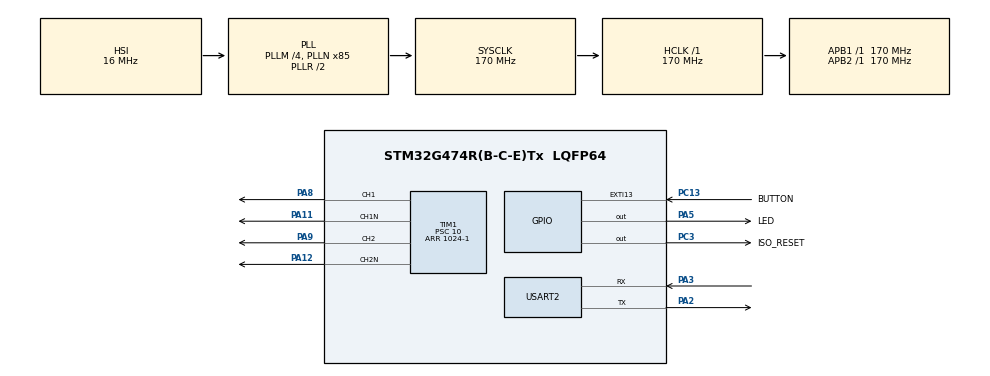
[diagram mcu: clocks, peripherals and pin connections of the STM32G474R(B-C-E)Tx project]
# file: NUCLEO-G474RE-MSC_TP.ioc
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Mcu.Family=STM32G4
Mcu.Name=STM32G474R(B-C-E)Tx
Mcu.Package=LQFP64
NVIC.EXTI15_10_IRQn=true\:0\:0\:false\:false\:true\:true\:true\:true
NVIC.PriorityGroup=NVIC_PRIORITYGROUP_4
PA11.Mode=PWM Generation1 CH1 CH1N
PA11.Signal=TIM1_CH1N
PA12.Mode=PWM Generation2 CH2 CH2N
PA12.Signal=TIM1_CH2N
PA13.GPIO_Label=T_SWDIO
PA13.Mode=Serial_Wire
PA13.Signal=SYS_JTMS-SWDIO
PA14.GPIO_Label=T_SWCLK
PA14.Mode=Serial_Wire
PA14.Signal=SYS_JTCK-SWCLK
PA2.Mode=Asynchronous
PA2.Signal=USART2_TX
PA3.Mode=Asynchronous
PA3.Signal=USART2_RX
PA5.GPIO_Label=LED
PA5.Signal=GPIO_Output
PA8.Signal=S_TIM1_CH1
PA9.Signal=S_TIM1_CH2
PC13.GPIO_Label=BUTTON
PC13.Signal=GPXTI13
PC14-OSC32_IN.Mode=LSE-External-Oscillator
PC14-OSC32_IN.Signal=RCC_OSC32_IN
PC15-OSC32_OUT.Mode=LSE-External-Oscillator
PC15-OSC32_OUT.Signal=RCC_OSC32_OUT
PC3.GPIO_Label=ISO_RESET
PC3.Signal=GPIO_Output
PF0-OSC_IN.Mode=HSE-External-Oscillator
PF0-OSC_IN.Signal=RCC_OSC_IN
PF1-OSC_OUT.Mode=HSE-External-Oscillator
PF1-OSC_OUT.Signal=RCC_OSC_OUT
ProjectManager.HeapSize=0x200
ProjectManager.StackSize=0x400
ProjectManager.TargetToolchain=STM32CubeIDE
RCC.ADC12Freq_Value=170000000
RCC.ADC345Freq_Value=170000000
RCC.AHBFreq_Value=170000000
RCC.APB1Freq_Value=170000000
RCC.APB1TimFreq_Value=170000000
RCC.APB2Freq_Value=170000000
RCC.APB2TimFreq_Value=170000000
RCC.CortexFreq_Value=170000000
RCC.EXTERNAL_CLOCK_VALUE=12288000
RCC.HCLKFreq_Value=170000000
RCC.HSE_VALUE=24000000
RCC.HSI48_VALUE=48000000
RCC.HSI_VALUE=16000000
RCC.PLLM=RCC_PLLM_DIV4
RCC.PLLN=85
RCC.RTCClockSelection=RCC_RTCCLKSOURCE_LSE
RCC.SYSCLKFreq_VALUE=170000000
RCC.SYSCLKSource=RCC_SYSCLKSOURCE_PLLCLK
RCC.USBFreq_Value=170000000
RCC.VCOOutputFreq_Value=340000000
SH.S_TIM1_CH1.0=TIM1_CH1,PWM Generation1 CH1 CH1N
SH.S_TIM1_CH2.0=TIM1_CH2,PWM Generation2 CH2 CH2N
TIM1.AutoReloadPreload=TIM_AUTORELOAD_PRELOAD_ENABLE
TIM1.Channel-PWM\ Generation1\ CH1\ CH1N=TIM_CHANNEL_1
TIM1.Channel-PWM\ Generation2\ CH2\ CH2N=TIM_CHANNEL_2
TIM1.CounterMode=TIM_COUNTERMODE_CENTERALIGNED1
TIM1.DeadTime=203
TIM1.PeriodNoDither=1024-1
TIM1.Prescaler=10
TIM1.PulseNoDither_1=512-1
TIM1.PulseNoDither_2=512-1
USART2.VirtualMode-Asynchronous=VM_ASYNC
VP_SYS_VS_DBSignals.Mode=DisableDeadBatterySignals
VP_TIM1_VS_ClockSourceINT.Mode=Internal
board=NUCLEO-G474RE

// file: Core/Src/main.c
/* USER CODE BEGIN Header */
/**
  ******************************************************************************
  * @file           : main.c
  * @brief          : Main program body
  ******************************************************************************
  * @attention
  *
  * Copyright (c) 2022 STMicroelectronics.
  * All rights reserved.
  *
  * This software is licensed under terms that can be found in the LICENSE file
  * in the root directory of this software component.
  * If no LICENSE file comes with this software, it is provided AS-IS.
  *
  ******************************************************************************
  */
/* USER CODE END Header */
#include "main.h"
#include "tim.h"
#include "usart.h"
#include "gpio.h"

/* USER CODE BEGIN PTD */
#define MAX_VALUE 1023
/* USER CODE END PTD */

/* USER CODE BEGIN PV */
/***************************************************************************//**
 * Variable définissant l'état
 * +1 sens direct
 * -1 sens indirect
 ******************************************************************************/
int state = 0;
int speed = 512-1;
char uartTxBuffer[32];

/* USER CODE END PV */

void SystemClock_Config(void);

int main(void)
{

  /* MCU Configuration--------------------------------------------------------*/

  /* Reset of all peripherals, Initializes the Flash interface and the Systick. */
  HAL_Init();

  /* Configure the system clock */
  SystemClock_Config();

  /* Initialize all configured peripherals */
  MX_GPIO_Init();
  MX_TIM1_Init();
  MX_USART2_UART_Init();
  /* USER CODE BEGIN 2 */
  HAL_GPIO_WritePin(ISO_RESET_GPIO_Port, ISO_RESET_Pin, RESET);
  HAL_Delay(1);
  HAL_GPIO_WritePin(ISO_RESET_GPIO_Port, ISO_RESET_Pin, SET);
  HAL_Delay(1);
  HAL_GPIO_WritePin(ISO_RESET_GPIO_Port, ISO_RESET_Pin, RESET);

  HAL_TIM_PWM_Start(&htim1, TIM_CHANNEL_1);
  HAL_TIM_PWM_Start(&htim1, TIM_CHANNEL_2);
  HAL_TIMEx_PWMN_Start(&htim1, TIM_CHANNEL_1);
  HAL_TIMEx_PWMN_Start(&htim1, TIM_CHANNEL_2);
  TIM1->CCR1 = 512-1;
  TIM1->CCR2 = 512-1;
  /* USER CODE EN-D 2 */

  /* Infinite loop */
  /* USER CODE BEGIN WHILE */
  while (1)
  {
	  switch(state){
	  case -1 :
		  speed+=state;
		  if(speed == 0){
			  state = 1;
		  }
		  break;
	  case 1 :
		  speed+=state;
		  if(speed == MAX_VALUE){
			  state = -1;
			  //Test Github 2
		  }
		  break;
	  default :
		  speed = 511;
		  state = 1;
		  break;
	  }
	  HAL_Delay(50);
	  sprintf(uartTxBuffer,"Speed = %4d\r\n",speed);
	  HAL_UART_Transmit(&huart2, uartTxBuffer, strlen(uartTxBuffer), HAL_MAX_DELAY);
	  TIM1->CCR1 = speed;
	  TIM1->CCR2 = MAX_VALUE-speed;
    /* USER CODE END WHILE */

  }
}

void SystemClock_Config(void)
{
  RCC_OscInitTypeDef RCC_OscInitStruct = {0};
  RCC_ClkInitTypeDef RCC_ClkInitStruct = {0};

  /** Configure the main internal regulator output voltage
  */
  HAL_PWREx_ControlVoltageScaling(PWR_REGULATOR_VOLTAGE_SCALE1_BOOST);

  /** Initializes the RCC Oscillators according to the specified parameters
  * in the RCC_OscInitTypeDef structure.
  */
  RCC_OscInitStruct.OscillatorType = RCC_OSCILLATORTYPE_HSI;
  RCC_OscInitStruct.HSIState = RCC_HSI_ON;
  RCC_OscInitStruct.HSICalibrationValue = RCC_HSICALIBRATION_DEFAULT;
  RCC_OscInitStruct.PLL.PLLState = RCC_PLL_ON;
  RCC_OscInitStruct.PLL.PLLSource = RCC_PLLSOURCE_HSI;
  RCC_OscInitStruct.PLL.PLLM = RCC_PLLM_DIV4;
  RCC_OscInitStruct.PLL.PLLN = 85;
  RCC_OscInitStruct.PLL.PLLP = RCC_PLLP_DIV2;
  RCC_OscInitStruct.PLL.PLLQ = RCC_PLLQ_DIV2;
  RCC_OscInitStruct.PLL.PLLR = RCC_PLLR_DIV2;
  if (HAL_RCC_OscConfig(&RCC_OscInitStruct) != HAL_OK)
  {
    Error_Handler();
  }

  /** Initializes the CPU, AHB and APB buses clocks
  */
  RCC_ClkInitStruct.ClockType = RCC_CLOCKTYPE_HCLK|RCC_CLOCKTYPE_SYSCLK
                              |RCC_CLOCKTYPE_PCLK1|RCC_CLOCKTYPE_PCLK2;
  RCC_ClkInitStruct.SYSCLKSource = RCC_SYSCLKSOURCE_PLLCLK;
  RCC_ClkInitStruct.AHBCLKDivider = RCC_SYSCLK_DIV1;
  RCC_ClkInitStruct.APB1CLKDivider = RCC_HCLK_DIV1;
  RCC_ClkInitStruct.APB2CLKDivider = RCC_HCLK_DIV1;

  if (HAL_RCC_ClockConfig(&RCC_ClkInitStruct, FLASH_LATENCY_4) != HAL_OK)
  {
    Error_Handler();
  }
}

void Error_Handler(void)
{
  __disable_irq();
  while (1)
  {
  }
}
